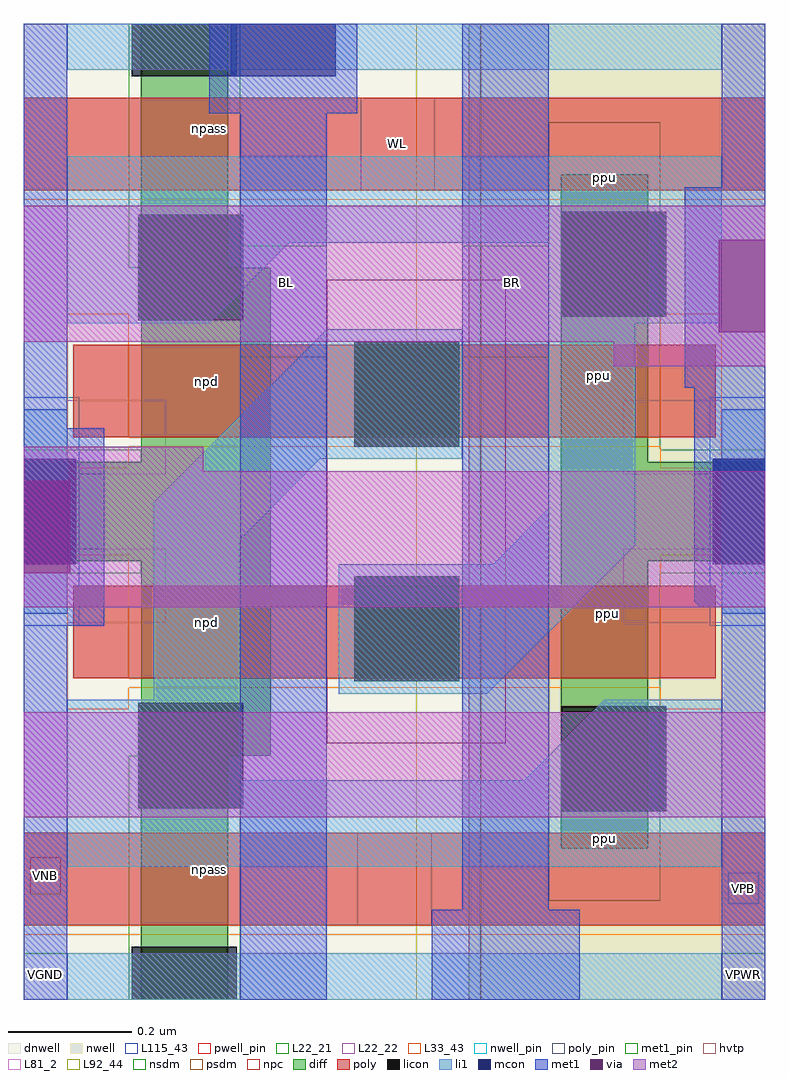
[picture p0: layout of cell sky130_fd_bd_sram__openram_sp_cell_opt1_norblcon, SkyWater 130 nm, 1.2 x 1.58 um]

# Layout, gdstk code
import gdstk
lib = gdstk.Library(unit=1e-6, precision=1e-09)
def R(c, l, rs):  # rectangles x0, y0, x1, y1
    for r in rs: c.add(gdstk.rectangle(r[:2], r[2:], *l))
def P(c, l, *ps):  # polygons
    for p in ps: c.add(gdstk.Polygon(p, *l))
L22_21 = (22, 21)
L22_22 = (22, 22)
L33_43 = (33, 43)
nwell_pin = (64, 16)
dnwell = (64, 18)
nwell = (64, 20)
diff = (65, 20)
poly_pin = (66, 16)
poly = (66, 20)
licon = (66, 44)
li1 = (67, 20)
mcon = (67, 44)
met1_pin = (68, 16)
met1 = (68, 20)
via = (68, 44)
met2 = (69, 20)
hvtp = (78, 44)
L81_2 = (81, 2)
L92_44 = (92, 44)
nsdm = (93, 44)
psdm = (94, 20)
npc = (95, 20)
L115_43 = (115, 43)
pwell_pin = (122, 16)

sky130_fd_bd_sram__openr = lib.new_cell('sky130_fd_bd_sram__openram_sp_cell_opt1_norblcon')
R(sky130_fd_bd_sram__openr, L22_21, [(0.17,0,0.19,0.395), (0.33,0,0.35,0.395), (0,0.69,0.19,0.71), (0,0.87,0.19,0.89), (0.17,1.185,0.19,1.58), (0.33,1.185,0.35,1.58)])
P(sky130_fd_bd_sram__openr, L22_21, [(0.85,0.16),(0.85,1.42),(1.03,1.42),(1.03,0.89),(1.2,0.89),(1.2,0.87),(1.01,0.87),(1.01,1.335),(0.87,1.335),(0.87,0.245),(1.01,0.245),(1.01,0.71),(1.2,0.71),(1.2,0.69),(1.03,0.69),(1.03,0.16)])
R(sky130_fd_bd_sram__openr, L22_22, [(0.07,0.61,0.23,0.73), (0.97,0.61,1.13,0.73), (0.07,0.85,0.23,0.97), (0.97,0.85,1.13,0.97)])
R(sky130_fd_bd_sram__openr, L33_43, [(0,0.105,0.08,0.12), (0.08,0.105,1.2,0.12), (0.07,0.47,0.17,0.72), (1.03,0.47,1.13,0.72), (0.07,0.505,1.13,0.52), (0.07,0.86,0.17,1.11), (1.03,0.86,1.13,1.11), (0.07,0.895,1.13,0.91), (0,1.295,0.08,1.31), (0.08,1.295,1.2,1.31)])
R(sky130_fd_bd_sram__openr, nwell_pin, [(1.14,0.155,1.19,0.205)])
R(sky130_fd_bd_sram__openr, dnwell, [(0,0,1.2,1.58)])
R(sky130_fd_bd_sram__openr, nwell, [(0.72,0,1.2,1.58)])
P(sky130_fd_bd_sram__openr, diff, [(0.87,0.245),(0.87,1.335),(1.01,1.335),(1.01,0.87),(1.2,0.87),(1.2,0.71),(1.01,0.71),(1.01,0.245)],
  [(0.19,0),(0.19,0.71),(0,0.71),(0,0.87),(0.19,0.87),(0.19,1.58),(0.33,1.58),(0.33,1.185),(0.4,1.185),(0.4,0.395),(0.33,0.395),(0.33,0)])
R(sky130_fd_bd_sram__openr, poly_pin, [(0.54,0.12,0.66,0.27), (0.545,1.31,0.665,1.46)])
R(sky130_fd_bd_sram__openr, poly, [(0,0.12,0.08,0.27), (0.08,0.12,1.2,0.27), (0.08,0.52,1.12,0.67), (0.08,0.91,1.12,1.06), (0,1.31,0.08,1.46), (0.08,1.31,1.2,1.46)])
R(sky130_fd_bd_sram__openr, licon, [(0.175,0,0.345,0.085), (0.87,0.305,1.04,0.475), (0.185,0.31,0.355,0.48), (0.535,0.515,0.705,0.685), (0,0.705,0.085,0.875), (1.115,0.705,1.2,0.875), (0.535,0.895,0.705,1.065), (0.185,1.1,0.355,1.27), (0.87,1.105,1.04,1.275), (0.175,1.495,0.345,1.58)])
R(sky130_fd_bd_sram__openr, li1, [(0.07,0,1.13,0.075), (0,0.625,0.07,0.955), (1.13,0.625,1.2,0.955), (0.07,1.505,1.13,1.58)])
P(sky130_fd_bd_sram__openr, li1, [(0.07,0.215),(0.07,0.485),(0.21,0.485),(0.21,0.805),(0.49,1.085),(0.71,1.085),(0.71,0.875),(0.48,0.875),(0.35,0.745),(0.35,0.355),(0.81,0.355),(0.94,0.485),(1.13,0.485),(1.13,0.215)],
  [(0.51,0.495),(0.51,0.705),(0.76,0.705),(0.85,0.795),(0.85,1.225),(0.43,1.225),(0.3,1.095),(0.07,1.095),(0.07,1.365),(1.13,1.365),(1.13,1.095),(0.99,1.095),(0.99,0.735),(0.75,0.495)])
R(sky130_fd_bd_sram__openr, mcon, [(0,0.705,0.085,0.875), (1.115,0.705,1.2,0.875), (1.115,0.705,1.2,0.875), (0.335,1.495,0.505,1.58)])
R(sky130_fd_bd_sram__openr, met1_pin, [(0,0,0.07,0.075), (1.13,0,1.2,0.075), (0.35,1.04,0.49,1.22), (0.71,1.04,0.85,1.22)])
P(sky130_fd_bd_sram__openr, met1, [(1.13,0),(1.13,0.635),(1.095,0.635),(1.085,0.645),(1.085,0.99),(1.07,0.99),(1.07,1.315),(1.13,1.315),(1.13,1.58),(1.2,1.58),(1.2,0)],
  [(0.66,0),(0.66,0.145),(0.71,0.145),(0.71,1.58),(0.85,1.58),(0.85,0.145),(0.9,0.145),(0.9,0)],
  [(0.35,0),(0.35,1.435),(0.3,1.435),(0.3,1.58),(0.54,1.58),(0.54,1.435),(0.49,1.435),(0.49,0)],
  [(0,0),(0,1.58),(0.07,1.58),(0.07,0.925),(0.13,0.925),(0.13,0.605),(0.07,0.605),(0.07,0)])
R(sky130_fd_bd_sram__openr, via, [(0,0.69,0.075,0.84), (1.125,1.08,1.2,1.23)])
R(sky130_fd_bd_sram__openr, met2, [(0,0.295,1.2,0.465)])
P(sky130_fd_bd_sram__openr, met2, [(0,0.635),(0,0.895),(0.29,0.895),(0.29,0.855),(1.2,0.855),(1.2,0.635)],
  [(0.955,1.025),(0.955,1.065),(0,1.065),(0,1.285),(1.2,1.285),(1.2,1.025)])
R(sky130_fd_bd_sram__openr, hvtp, [(0.72,0,1.2,1.58)])
R(sky130_fd_bd_sram__openr, L81_2, [(0,0,1.2,1.58)])
R(sky130_fd_bd_sram__openr, L92_44, [(0.635,0,1.2,1.58)])
R(sky130_fd_bd_sram__openr, nsdm, [(0,0,0.74,1.58)])
R(sky130_fd_bd_sram__openr, psdm, [(0.74,0,1.2,1.58)])
R(sky130_fd_bd_sram__openr, npc, [(0.49,0.415,0.78,1.165)])
P(sky130_fd_bd_sram__openr, L115_43, [(1.11,0.605),(1.11,0.975),(1.2,0.975),(1.2,0.955),(1.13,0.955),(1.13,0.625),(1.2,0.625),(1.2,0.605)],
  [(0,0.605),(0,0.625),(0.07,0.625),(0.07,0.955),(0,0.955),(0,0.975),(0.09,0.975),(0.09,0.605)])
R(sky130_fd_bd_sram__openr, pwell_pin, [(0.01,0.17,0.06,0.23)])
sky130_fd_bd_sram__openr.add(gdstk.Label('npass', (0.3,0.21), layer=66, texttype=83))
sky130_fd_bd_sram__openr.add(gdstk.Label('npd', (0.295,0.61), layer=66, texttype=83))
sky130_fd_bd_sram__openr.add(gdstk.Label('npd', (0.295,1), layer=66, texttype=83))
sky130_fd_bd_sram__openr.add(gdstk.Label('npass', (0.3,1.41), layer=66, texttype=83))
sky130_fd_bd_sram__openr.add(gdstk.Label('ppu', (0.93,1.01), layer=66, texttype=83))
sky130_fd_bd_sram__openr.add(gdstk.Label('ppu', (0.945,0.625), layer=66, texttype=83))
sky130_fd_bd_sram__openr.add(gdstk.Label('ppu', (0.94,1.33), layer=66, texttype=83))
sky130_fd_bd_sram__openr.add(gdstk.Label('ppu', (0.94,0.26), layer=66, texttype=83))
sky130_fd_bd_sram__openr.add(gdstk.Label('BL', (0.425,1.16), layer=68, texttype=5))
sky130_fd_bd_sram__openr.add(gdstk.Label('BR', (0.79,1.16), layer=68, texttype=5))
sky130_fd_bd_sram__openr.add(gdstk.Label('VGND', (0.035,0.04), layer=68, texttype=5))
sky130_fd_bd_sram__openr.add(gdstk.Label('VPWR', (1.165,0.04), layer=68, texttype=5))
sky130_fd_bd_sram__openr.add(gdstk.Label('VPB', (1.165,0.18), layer=64, texttype=5))
sky130_fd_bd_sram__openr.add(gdstk.Label('WL', (0.605,1.385), layer=66, texttype=5))
sky130_fd_bd_sram__openr.add(gdstk.Label('VNB', (0.035,0.2), layer=64, texttype=59))

lib.write_gds('sky130_fd_bd_sram__openram_sp_cell_opt1_norblcon.gds')
